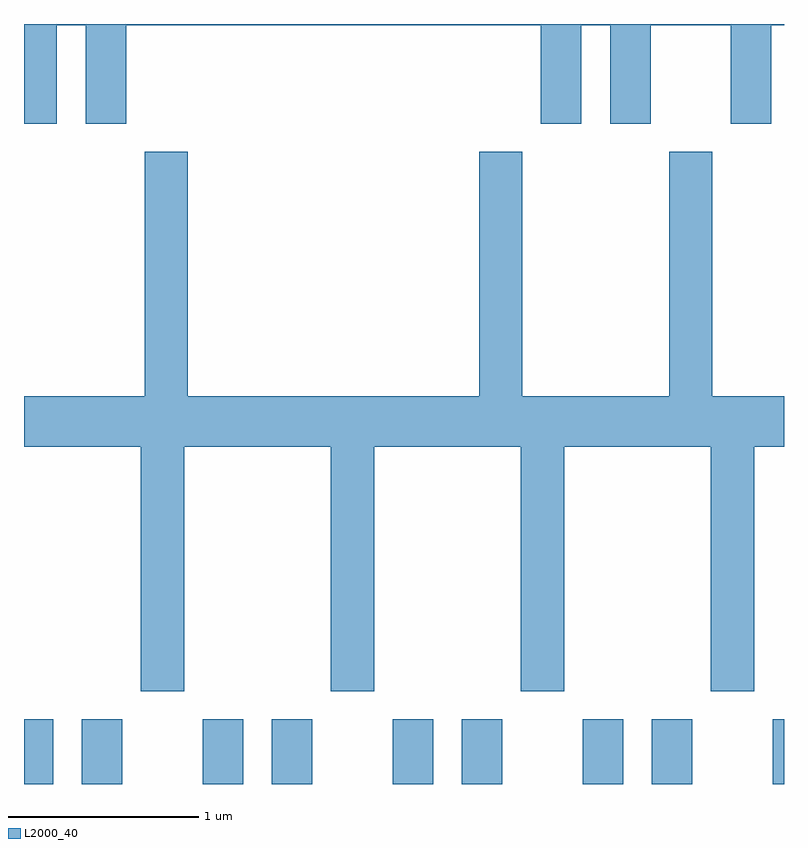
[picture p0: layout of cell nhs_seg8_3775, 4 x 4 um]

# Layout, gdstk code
import gdstk
lib = gdstk.Library(unit=1e-6, precision=1e-09)
def R(c, l, rs):  # rectangles x0, y0, x1, y1
    for r in rs: c.add(gdstk.rectangle(r[:2], r[2:], *l))
def P(c, l, *ps):  # polygons
    for p in ps: c.add(gdstk.Polygon(p, *l))
L2000_40 = (2000, 40)

nhs_seg8_3775 = lib.new_cell('nhs_seg8_3775')
R(nhs_seg8_3775, L2000_40, [(297.611,1912.342,297.764,1912.684), (297.916,1912.342,298.129,1912.684), (298.551,1912.342,298.764,1912.684), (298.916,1912.342,299.129,1912.684), (299.551,1912.342,299.764,1912.684), (299.916,1912.342,300.129,1912.684), (300.551,1912.342,300.764,1912.684), (300.916,1912.342,301.129,1912.684), (301.551,1912.342,301.611,1912.684)])
P(nhs_seg8_3775, L2000_40, [(300.331,1915.816),(300.544,1915.816),(300.544,1916.336),(300.696,1916.336),(300.696,1915.816),(300.909,1915.816),(300.909,1916.336),(301.331,1916.336),(301.331,1915.816),(301.544,1915.816),(301.544,1916.336),(301.611,1916.336),(301.611,1916.342),(297.611,1916.342),(297.611,1915.816),(297.784,1915.816),(297.784,1916.336),(297.936,1916.336),(297.936,1915.816),(298.149,1915.816),(298.149,1916.336),(300.331,1916.336)],
  [(300.234,1915.669),(300.006,1915.669),(300.006,1914.384),(298.474,1914.384),(298.474,1915.669),(298.246,1915.669),(298.246,1914.384),(297.611,1914.384),(297.611,1914.116),(298.226,1914.116),(298.226,1912.831),(298.454,1912.831),(298.454,1914.116),(299.226,1914.116),(299.226,1912.831),(299.454,1912.831),(299.454,1914.116),(300.226,1914.116),(300.226,1912.831),(300.454,1912.831),(300.454,1914.116),(301.226,1914.116),(301.226,1912.831),(301.454,1912.831),(301.454,1914.116),(301.611,1914.116),(301.611,1914.384),(301.234,1914.384),(301.234,1915.669),(301.006,1915.669),(301.006,1914.384),(300.234,1914.384)])

lib.write_gds('nhs_seg8_3775.gds')
